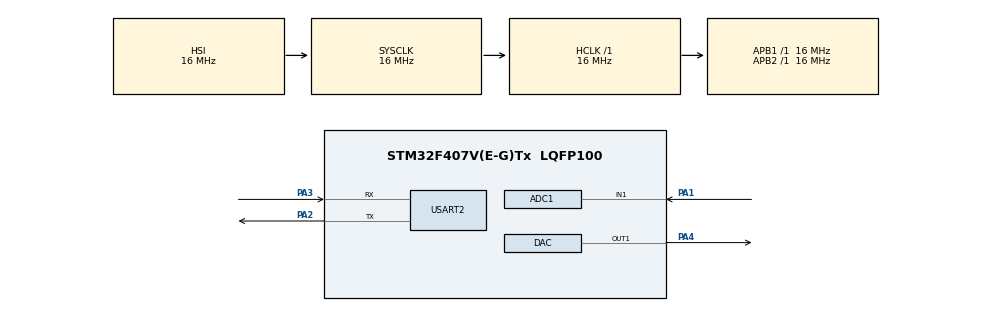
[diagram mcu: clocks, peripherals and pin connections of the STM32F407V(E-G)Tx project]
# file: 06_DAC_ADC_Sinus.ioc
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ADC1.Channel-0\#ChannelRegularConversion=ADC_CHANNEL_1
ADC1.DMAContinuousRequests=DISABLE
ADC1.ExternalTrigConv=ADC_EXTERNALTRIGCONV_T3_TRGO
ADC1.NbrOfConversion=1
ADC1.NbrOfConversionFlag=1
ADC1.Rank-0\#ChannelRegularConversion=1
ADC1.SamplingTime-0\#ChannelRegularConversion=ADC_SAMPLETIME_3CYCLES
ADC1.master=1
DAC.DAC_Trigger=DAC_TRIGGER_T6_TRGO
Mcu.Family=STM32F4
Mcu.Name=STM32F407V(E-G)Tx
Mcu.Package=LQFP100
NVIC.PriorityGroup=NVIC_PRIORITYGROUP_4
NVIC.TIM3_IRQn=true\:0\:0\:false\:false\:true\:true\:true\:true
NVIC.TIM6_DAC_IRQn=true\:0\:0\:false\:false\:true\:true\:true\:true
PA1.Signal=ADCx_IN1
PA2.Mode=Asynchronous
PA2.Signal=USART2_TX
PA3.Mode=Asynchronous
PA3.Signal=USART2_RX
PA4.Signal=COMP_DAC1_group
ProjectManager.HeapSize=0x200
ProjectManager.StackSize=0x400
ProjectManager.TargetToolchain=STM32CubeIDE
RCC.AHBFreq_Value=16000000
RCC.APB1Freq_Value=16000000
RCC.APB2Freq_Value=16000000
RCC.CortexFreq_Value=16000000
RCC.HSE_VALUE=25000000
RCC.HSI_VALUE=16000000
RCC.LSE_VALUE=32768
RCC.SYSCLKFreq_VALUE=16000000
RCC.VCOOutputFreq_Value=192000000
SH.ADCx_IN1.0=ADC1_IN1,IN1
SH.COMP_DAC1_group.0=DAC_OUT1,DAC_OUT1
TIM3.Period=799
TIM3.Prescaler=3
TIM3.TIM_MasterOutputTrigger=TIM_TRGO_UPDATE
TIM6.Period=799
TIM6.Prescaler=3
TIM6.TIM_MasterOutputTrigger=TIM_TRGO_UPDATE
USART2.VirtualMode=VM_ASYNC
VP_TIM3_VS_ClockSourceINT.Mode=Internal
VP_TIM6_VS_ClockSourceINT.Mode=Enable_Timer
board=custom

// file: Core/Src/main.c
/* USER CODE BEGIN Header */
/**
  ******************************************************************************
  * @file           : main.c
  * @brief          : Main program body
  ******************************************************************************
  * @attention
  *
  * Copyright (c) 2026 STMicroelectronics.
  * All rights reserved.
  *
  * This software is licensed under terms that can be found in the LICENSE file
  * in the root directory of this software component.
  * If no LICENSE file comes with this software, it is provided AS-IS.
  *
  ******************************************************************************
  */
/* USER CODE END Header */
#include "main.h"

/* USER CODE BEGIN Includes */
#include "math.h"
#include "stdbool.h"
#include "string.h"
#include "stdio.h"
/* USER CODE END Includes */

/* USER CODE BEGIN PD */

#define WAVE_SAMPLES 		100
#define ADC_BUFFER_BOYUTU 	100

/* USER CODE END PD */

ADC_HandleTypeDef hadc1;

DAC_HandleTypeDef hdac;

TIM_HandleTypeDef htim3;
TIM_HandleTypeDef htim6;

UART_HandleTypeDef huart2;

/* USER CODE BEGIN PV */

uint32_t wave[WAVE_SAMPLES];
uint16_t adcBuffer[ADC_BUFFER_BOYUTU];
uint32_t currentDACValue = 0;
volatile bool adcBufferHazir = false;
/* USER CODE END PV */

void SystemClock_Config(void);
static void MX_GPIO_Init(void);
static void MX_DAC_Init(void);
static void MX_TIM6_Init(void);
static void MX_ADC1_Init(void);
static void MX_USART2_UART_Init(void);
static void MX_TIM3_Init(void);

/* USER CODE BEGIN 0 */

void Generate_SinWave(void){
	for(int i = 0; i < WAVE_SAMPLES; i++){
		wave[i] = (uint32_t)((sinf(2 * M_PI * i / WAVE_SAMPLES) + 1) * 2047);
	}
}

void UART_SendString(char *str)
{
    HAL_UART_Transmit(&huart2, (uint8_t*)str, strlen(str), 100);
}

void HAL_TIM_PeriodElapsedCallback(TIM_HandleTypeDef *htim)
{
    if (htim->Instance == TIM6)
    {
        static uint16_t index = 0;
        HAL_DAC_SetValue(&hdac, DAC_CHANNEL_1, DAC_ALIGN_12B_R, wave[index]);
        currentDACValue = wave[index];
        index = (index + 1) % WAVE_SAMPLES;
    }

    if (htim->Instance == TIM3){
    	static uint16_t adcIndex = 0;

    	if(!adcBufferHazir){
    		adcBuffer[adcIndex] = HAL_ADC_GetValue(&hadc1);
    		HAL_ADC_Start(&hadc1);
    		adcIndex++;

    		if(adcIndex >= ADC_BUFFER_BOYUTU){
    			adcIndex = 0;
    			adcBufferHazir = true;
    		}
    	}
    }
}

/* USER CODE END 0 */

int main(void)
{

  /* MCU Configuration--------------------------------------------------------*/

  /* Reset of all peripherals, Initializes the Flash interface and the Systick. */
  HAL_Init();

  /* Configure the system clock */
  SystemClock_Config();

  /* Initialize all configured peripherals */
  MX_GPIO_Init();
  MX_DAC_Init();
  MX_TIM6_Init();
  MX_ADC1_Init();
  MX_USART2_UART_Init();
  MX_TIM3_Init();
  /* USER CODE BEGIN 2 */

  Generate_SinWave();
  HAL_DAC_Start(&hdac, DAC_CHANNEL_1);
  HAL_TIM_Base_Start_IT(&htim6);

  HAL_ADC_Start(&hadc1);
  HAL_TIM_Base_Start_IT(&htim3);

  /* USER CODE END 2 */

  /* Infinite loop */
  while (1)
  {

    /* USER CODE BEGIN 3 */

	  if (adcBufferHazir)
	  {
	      adcBufferHazir = false;
	      char satir[16];
	      UART_SendString("START\r\n");
	      for(int i = 0; i < ADC_BUFFER_BOYUTU; i++)
	          {
	              sprintf(satir,"%d\r\n",adcBuffer[i]);
	              UART_SendString(satir);
	          }
	  }

  }
  /* USER CODE END 3 */
}

void SystemClock_Config(void)
{
  RCC_OscInitTypeDef RCC_OscInitStruct = {0};
  RCC_ClkInitTypeDef RCC_ClkInitStruct = {0};

  /** Configure the main internal regulator output voltage
  */
  __HAL_RCC_PWR_CLK_ENABLE();
  __HAL_PWR_VOLTAGESCALING_CONFIG(PWR_REGULATOR_VOLTAGE_SCALE1);

  /** Initializes the RCC Oscillators according to the specified parameters
  * in the RCC_OscInitTypeDef structure.
  */
  RCC_OscInitStruct.OscillatorType = RCC_OSCILLATORTYPE_HSI;
  RCC_OscInitStruct.HSIState = RCC_HSI_ON;
  RCC_OscInitStruct.HSICalibrationValue = RCC_HSICALIBRATION_DEFAULT;
  RCC_OscInitStruct.PLL.PLLState = RCC_PLL_NONE;
  if (HAL_RCC_OscConfig(&RCC_OscInitStruct) != HAL_OK)
  {
    Error_Handler();
  }

  /** Initializes the CPU, AHB and APB buses clocks
  */
  RCC_ClkInitStruct.ClockType = RCC_CLOCKTYPE_HCLK|RCC_CLOCKTYPE_SYSCLK
                              |RCC_CLOCKTYPE_PCLK1|RCC_CLOCKTYPE_PCLK2;
  RCC_ClkInitStruct.SYSCLKSource = RCC_SYSCLKSOURCE_HSI;
  RCC_ClkInitStruct.AHBCLKDivider = RCC_SYSCLK_DIV1;
  RCC_ClkInitStruct.APB1CLKDivider = RCC_HCLK_DIV1;
  RCC_ClkInitStruct.APB2CLKDivider = RCC_HCLK_DIV1;

  if (HAL_RCC_ClockConfig(&RCC_ClkInitStruct, FLASH_LATENCY_0) != HAL_OK)
  {
    Error_Handler();
  }
}

static void MX_ADC1_Init(void)
{

  ADC_ChannelConfTypeDef sConfig = {0};

  /** Configure the global features of the ADC (Clock, Resolution, Data Alignment and number of conversion)
  */
  hadc1.Instance = ADC1;
  hadc1.Init.ClockPrescaler = ADC_CLOCK_SYNC_PCLK_DIV2;
  hadc1.Init.Resolution = ADC_RESOLUTION_12B;
  hadc1.Init.ScanConvMode = DISABLE;
  hadc1.Init.ContinuousConvMode = DISABLE;
  hadc1.Init.DiscontinuousConvMode = DISABLE;
  hadc1.Init.ExternalTrigConvEdge = ADC_EXTERNALTRIGCONVEDGE_RISING;
  hadc1.Init.ExternalTrigConv = ADC_EXTERNALTRIGCONV_T3_TRGO;
  hadc1.Init.DataAlign = ADC_DATAALIGN_RIGHT;
  hadc1.Init.NbrOfConversion = 1;
  hadc1.Init.DMAContinuousRequests = DISABLE;
  hadc1.Init.EOCSelection = ADC_EOC_SINGLE_CONV;
  if (HAL_ADC_Init(&hadc1) != HAL_OK)
  {
    Error_Handler();
  }

  /** Configure for the selected ADC regular channel its corresponding rank in the sequencer and its sample time.
  */
  sConfig.Channel = ADC_CHANNEL_1;
  sConfig.Rank = 1;
  sConfig.SamplingTime = ADC_SAMPLETIME_3CYCLES;
  if (HAL_ADC_ConfigChannel(&hadc1, &sConfig) != HAL_OK)
  {
    Error_Handler();
  }

}

static void MX_DAC_Init(void)
{

  DAC_ChannelConfTypeDef sConfig = {0};

  /** DAC Initialization
  */
  hdac.Instance = DAC;
  if (HAL_DAC_Init(&hdac) != HAL_OK)
  {
    Error_Handler();
  }

  /** DAC channel OUT1 config
  */
  sConfig.DAC_Trigger = DAC_TRIGGER_T6_TRGO;
  sConfig.DAC_OutputBuffer = DAC_OUTPUTBUFFER_ENABLE;
  if (HAL_DAC_ConfigChannel(&hdac, &sConfig, DAC_CHANNEL_1) != HAL_OK)
  {
    Error_Handler();
  }

}

static void MX_TIM3_Init(void)
{

  TIM_ClockConfigTypeDef sClockSourceConfig = {0};
  TIM_MasterConfigTypeDef sMasterConfig = {0};

  htim3.Instance = TIM3;
  htim3.Init.Prescaler = 3;
  htim3.Init.CounterMode = TIM_COUNTERMODE_UP;
  htim3.Init.Period = 799;
  htim3.Init.ClockDivision = TIM_CLOCKDIVISION_DIV1;
  htim3.Init.AutoReloadPreload = TIM_AUTORELOAD_PRELOAD_DISABLE;
  if (HAL_TIM_Base_Init(&htim3) != HAL_OK)
  {
    Error_Handler();
  }
  sClockSourceConfig.ClockSource = TIM_CLOCKSOURCE_INTERNAL;
  if (HAL_TIM_ConfigClockSource(&htim3, &sClockSourceConfig) != HAL_OK)
  {
    Error_Handler();
  }
  sMasterConfig.MasterOutputTrigger = TIM_TRGO_UPDATE;
  sMasterConfig.MasterSlaveMode = TIM_MASTERSLAVEMODE_DISABLE;
  if (HAL_TIMEx_MasterConfigSynchronization(&htim3, &sMasterConfig) != HAL_OK)
  {
    Error_Handler();
  }

}

static void MX_TIM6_Init(void)
{

  TIM_MasterConfigTypeDef sMasterConfig = {0};

  htim6.Instance = TIM6;
  htim6.Init.Prescaler = 3;
  htim6.Init.CounterMode = TIM_COUNTERMODE_UP;
  htim6.Init.Period = 799;
  htim6.Init.AutoReloadPreload = TIM_AUTORELOAD_PRELOAD_DISABLE;
  if (HAL_TIM_Base_Init(&htim6) != HAL_OK)
  {
    Error_Handler();
  }
  sMasterConfig.MasterOutputTrigger = TIM_TRGO_UPDATE;
  sMasterConfig.MasterSlaveMode = TIM_MASTERSLAVEMODE_DISABLE;
  if (HAL_TIMEx_MasterConfigSynchronization(&htim6, &sMasterConfig) != HAL_OK)
  {
    Error_Handler();
  }

}

static void MX_USART2_UART_Init(void)
{

  huart2.Instance = USART2;
  huart2.Init.BaudRate = 115200;
  huart2.Init.WordLength = UART_WORDLENGTH_8B;
  huart2.Init.StopBits = UART_STOPBITS_1;
  huart2.Init.Parity = UART_PARITY_NONE;
  huart2.Init.Mode = UART_MODE_TX_RX;
  huart2.Init.HwFlowCtl = UART_HWCONTROL_NONE;
  huart2.Init.OverSampling = UART_OVERSAMPLING_16;
  if (HAL_UART_Init(&huart2) != HAL_OK)
  {
    Error_Handler();
  }

}

static void MX_GPIO_Init(void)
{

  /* GPIO Ports Clock Enable */
  __HAL_RCC_GPIOA_CLK_ENABLE();

}

void Error_Handler(void)
{
  __disable_irq();
  while (1)
  {
  }
}
